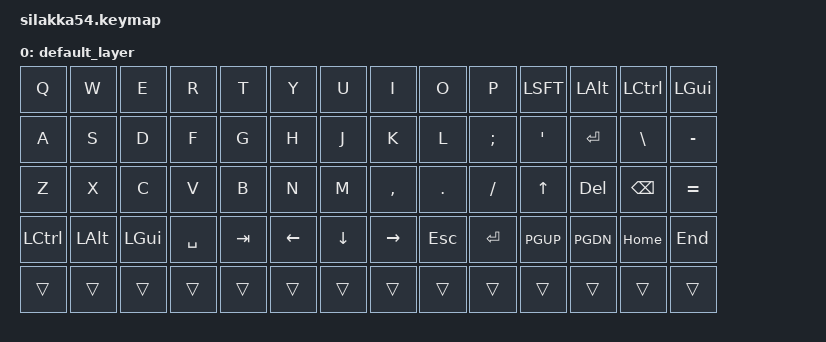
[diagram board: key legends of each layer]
#include <dt-bindings/zmk/keys.h>

/ { 
    keymap {
        compatible = "zmk,keymap";

        default_layer {
            bindings = <
&kp Q &kp W &kp E &kp R &kp T &kp Y &kp U &kp I &kp O &kp P &kp LSFT &kp LALT &kp LCTRL &kp LGUI
&kp A &kp S &kp D &kp F &kp G &kp H &kp J &kp K &kp L &kp SEMI &kp SQT &kp RET &kp BSLH &kp MINUS
&kp Z &kp X &kp C &kp V &kp B &kp N &kp M &kp COMMA &kp DOT &kp FSLH &kp UP &kp DEL &kp BACKSPACE &kp EQUAL
&kp LCTRL &kp LALT &kp LGUI &kp SPACE &kp TAB &kp LEFT &kp DOWN &kp RIGHT &kp ESC &kp ENTER &kp PGUP &kp PGDN &kp HOME &kp END
&trans &trans &trans &trans &trans &trans &trans &trans &trans &trans &trans &trans &trans &trans
            >;
        };
    };
};


